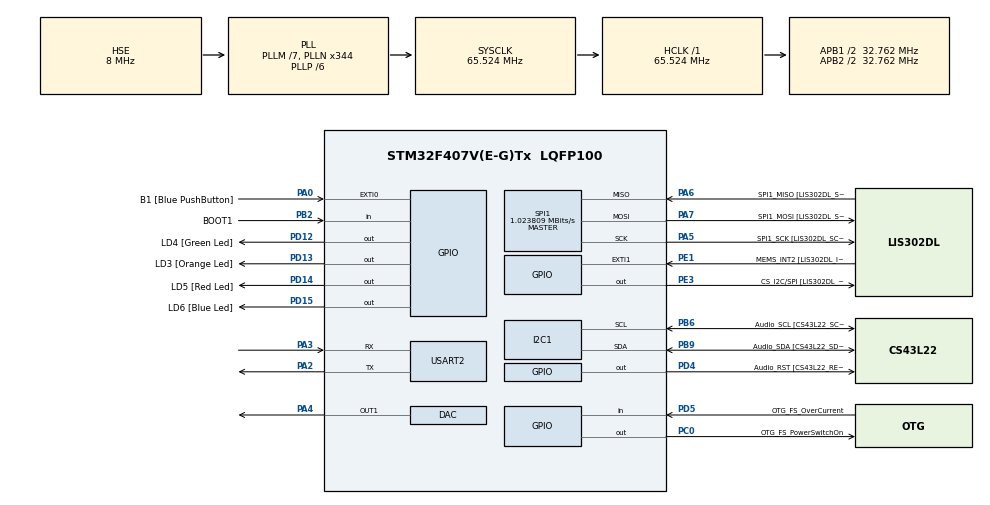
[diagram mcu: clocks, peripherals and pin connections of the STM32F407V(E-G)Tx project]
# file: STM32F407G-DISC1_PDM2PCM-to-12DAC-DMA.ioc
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DAC.DAC_Trigger=DAC_TRIGGER_T2_TRGO
DAC.WaveGeneration=DISABLE
Dma.DAC1.0.Direction=DMA_MEMORY_TO_PERIPH
Dma.DAC1.0.FIFOMode=DMA_FIFOMODE_DISABLE
Dma.DAC1.0.Instance=DMA1_Stream5
Dma.DAC1.0.MemDataAlignment=DMA_MDATAALIGN_HALFWORD
Dma.DAC1.0.MemInc=DMA_MINC_ENABLE
Dma.DAC1.0.Mode=DMA_CIRCULAR
Dma.DAC1.0.PeriphDataAlignment=DMA_PDATAALIGN_HALFWORD
Dma.DAC1.0.PeriphInc=DMA_PINC_DISABLE
Dma.DAC1.0.Priority=DMA_PRIORITY_MEDIUM
Dma.Request0=DAC1
Mcu.Family=STM32F4
Mcu.Name=STM32F407V(E-G)Tx
Mcu.Package=LQFP100
NVIC.DMA1_Stream5_IRQn=true\:0\:0\:false\:false\:true\:false\:true
NVIC.PriorityGroup=NVIC_PRIORITYGROUP_0
PA0-WKUP.GPIO_Label=B1 [Blue PushButton]
PA0-WKUP.GPIO_ModeDefaultEXTI=GPIO_MODE_EVT_RISING
PA0-WKUP.GPIO_PuPd=GPIO_NOPULL
PA0-WKUP.Signal=GPXTI0
PA13.GPIO_Label=SWDIO
PA13.Mode=Trace_Asynchronous_SW
PA13.Signal=SYS_JTMS-SWDIO
PA14.GPIO_Label=SWCLK
PA14.Mode=Trace_Asynchronous_SW
PA14.Signal=SYS_JTCK-SWCLK
PA2.Mode=Asynchronous
PA2.Signal=USART2_TX
PA3.Mode=Asynchronous
PA3.Signal=USART2_RX
PA4.Signal=COMP_DAC1_group
PA5.GPIO_Label=SPI1_SCK [LIS302DL_SCL/SPC]
PA5.GPIO_Mode=GPIO_MODE_AF_PP
PA5.GPIO_PuPd=GPIO_NOPULL
PA5.GPIO_Speed=GPIO_SPEED_FREQ_LOW
PA5.Mode=Full_Duplex_Master
PA5.Signal=SPI1_SCK
PA6.GPIO_Label=SPI1_MISO [LIS302DL_SDO]
PA6.GPIO_Mode=GPIO_MODE_AF_PP
PA6.GPIO_PuPd=GPIO_NOPULL
PA6.GPIO_Speed=GPIO_SPEED_FREQ_LOW
PA6.Mode=Full_Duplex_Master
PA6.Signal=SPI1_MISO
PA7.GPIO_Label=SPI1_MOSI [LIS302DL_SDA/SDI/SDO]
PA7.GPIO_Mode=GPIO_MODE_AF_PP
PA7.GPIO_PuPd=GPIO_NOPULL
PA7.GPIO_Speed=GPIO_SPEED_FREQ_LOW
PA7.Mode=Full_Duplex_Master
PA7.Signal=SPI1_MOSI
PB10.Signal=SPI2_SCK
PB2.GPIO_Label=BOOT1
PB2.GPIO_Mode=GPIO_MODE_INPUT
PB2.GPIO_PuPd=GPIO_NOPULL
PB2.Signal=GPIO_Input
PB3.GPIO_Label=SWO
PB3.Mode=Trace_Asynchronous_SW
PB3.Signal=SYS_JTDO-SWO
PB6.GPIO_Label=Audio_SCL [CS43L22_SCL]
PB6.GPIO_Mode=GPIO_MODE_AF_OD
PB6.GPIO_Pu=GPIO_PULLUP
PB6.GPIO_PuPd=GPIO_NOPULL
PB6.GPIO_Speed=GPIO_SPEED_FREQ_LOW
PB6.Mode=I2C
PB6.Signal=I2C1_SCL
PB9.GPIO_Label=Audio_SDA [CS43L22_SDA]
PB9.GPIO_Mode=GPIO_MODE_AF_OD
PB9.GPIO_Pu=GPIO_PULLUP
PB9.GPIO_PuPd=GPIO_NOPULL
PB9.GPIO_Speed=GPIO_SPEED_FREQ_LOW
PB9.Mode=I2C
PB9.Signal=I2C1_SDA
PC0.GPIO_Label=OTG_FS_PowerSwitchOn
PC0.GPIO_PuPd=GPIO_NOPULL
PC0.GPIO_Speed=GPIO_SPEED_FREQ_LOW
PC0.PinState=GPIO_PIN_SET
PC0.Signal=GPIO_Output
PD12.GPIO_Label=LD4 [Green Led]
PD12.GPIO_PuPd=GPIO_NOPULL
PD12.GPIO_Speed=GPIO_SPEED_FREQ_LOW
PD12.Signal=GPIO_Output
PD13.GPIO_Label=LD3 [Orange Led]
PD13.GPIO_PuPd=GPIO_NOPULL
PD13.GPIO_Speed=GPIO_SPEED_FREQ_LOW
PD13.Signal=GPIO_Output
PD14.GPIO_Label=LD5 [Red Led]
PD14.GPIO_PuPd=GPIO_NOPULL
PD14.GPIO_Speed=GPIO_SPEED_FREQ_LOW
PD14.Signal=GPIO_Output
PD15.GPIO_Label=LD6 [Blue Led]
PD15.GPIO_PuPd=GPIO_NOPULL
PD15.GPIO_Speed=GPIO_SPEED_FREQ_LOW
PD15.Signal=GPIO_Output
PD4.GPIO_Label=Audio_RST [CS43L22_RESET]
PD4.GPIO_PuPd=GPIO_NOPULL
PD4.GPIO_Speed=GPIO_SPEED_FREQ_LOW
PD4.Signal=GPIO_Output
PD5.GPIO_Label=OTG_FS_OverCurrent
PD5.GPIO_Mode=GPIO_MODE_INPUT
PD5.GPIO_PuPd=GPIO_NOPULL
PD5.Signal=GPIO_Input
PDM2PCM.CHANNEL1_bit_order=PDM_FILTER_BIT_ORDER_MSB
PDM2PCM.CHANNEL1_endianness=PDM_FILTER_ENDIANNESS_BE
PDM2PCM.CHANNEL1_in_ptr_channels=1
PDM2PCM.CHANNEL1_out_ptr_channels=1
PDM2PCM.CHANNEL1_output_samples_number=125
PE1.GPIO_Label=MEMS_INT2 [LIS302DL_INT2]
PE1.GPIO_ModeDefaultEXTI=GPIO_MODE_EVT_RISING
PE1.GPIO_PuPd=GPIO_NOPULL
PE1.Signal=GPXTI1
PE3.GPIO_Label=CS_I2C/SPI [LIS302DL_CS_I2C/SPI]
PE3.GPIO_PuPd=GPIO_NOPULL
PE3.GPIO_Speed=GPIO_SPEED_FREQ_LOW
PE3.Signal=GPIO_Output
PH0-OSC_IN.GPIO_Label=PH0-OSC_IN
PH0-OSC_IN.Mode=HSE-External-Oscillator
PH0-OSC_IN.Signal=RCC_OSC_IN
PH1-OSC_OUT.GPIO_Label=PH1-OSC_OUT
PH1-OSC_OUT.Mode=HSE-External-Oscillator
PH1-OSC_OUT.Signal=RCC_OSC_OUT
ProjectManager.HeapSize=0x200
ProjectManager.StackSize=0x400
ProjectManager.TargetToolchain=STM32CubeIDE
RCC.48MHZClocksFreq_Value=56163265.30612246
RCC.AHBFreq_Value=65523809.52380953
RCC.APB1CLKDivider=RCC_HCLK_DIV2
RCC.APB1Freq_Value=32761904.761904765
RCC.APB1TimFreq_Value=65523809.52380953
RCC.APB2CLKDivider=RCC_HCLK_DIV2
RCC.APB2Freq_Value=32761904.761904765
RCC.APB2TimFreq_Value=65523809.52380953
RCC.CortexFreq_Value=65523809.52380953
RCC.HCLKFreq_Value=65523809.52380953
RCC.HSE_VALUE=8000000
RCC.HSI_VALUE=16000000
RCC.LSE_VALUE=32768
RCC.PLLM=7
RCC.PLLN=344
RCC.PLLP=RCC_PLLP_DIV6
RCC.PLLQ=7
RCC.PLLSourceVirtual=RCC_PLLSOURCE_HSE
RCC.SYSCLKFreq_VALUE=65523809.52380953
RCC.SYSCLKSource=RCC_SYSCLKSOURCE_PLLCLK
RCC.VCOOutputFreq_Value=393142857.1428572
SH.COMP_DAC1_group.0=DAC_OUT1,DAC_OUT1
SPI1.BaudRatePrescaler=SPI_BAUDRATEPRESCALER_32
SPI1.BaudRatePrescaler-Full_Duplex_Master=SPI_BAUDRATEPRESCALER_2
SPI1.CalculateBaudRate=1.023809 MBits/s
SPI1.CalculateBaudRate-Full_Duplex_Master=42.0 MBits/s
SPI1.Direction=SPI_DIRECTION_2LINES
SPI1.Mode=SPI_MODE_MASTER
SPI1.Mode-Full_Duplex_Master=SPI_MODE_MASTER
SPI1.VirtualType=VM_MASTER
TIM2.AutoReloadPreload=TIM_AUTORELOAD_PRELOAD_ENABLE
TIM2.ClockDivision=TIM_CLOCKDIVISION_DIV1
TIM2.Period=64-1
TIM2.Prescaler=64-1
TIM2.TIM_MasterOutputTrigger=TIM_TRGO_UPDATE
TIM2.TIM_MasterSlaveMode=TIM_MASTERSLAVEMODE_DISABLE
USART2.VirtualMode=VM_ASYNC
VP_CRC_VS_CRC.Mode=CRC_Activate
VP_PDM2PCM_VS_PDM2PCM.Mode=PDM2PCM_Channel
VP_TIM2_VS_ClockSourceINT.Mode=Internal
board=STM32F407G-DISC1

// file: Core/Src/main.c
/* USER CODE BEGIN Header */
/**
  ******************************************************************************
  * @file           : main.c
  * @brief          : Main program body
  ******************************************************************************
  * @attention
  *
  * <h2><center>&copy; Copyright (c) 2021 STMicroelectronics.
  * All rights reserved.</center></h2>
  *
  * This software component is licensed by ST under Ultimate Liberty license
  * SLA0044, the "License"; You may not use this file except in compliance with
  * the License. You may obtain a copy of the License at:
  *                             www.st.com/SLA0044
  *
  ******************************************************************************
  */
/* USER CODE END Header */
#include "main.h"
#include "pdm2pcm.h"

/* USER CODE BEGIN Includes */

#include <stdio.h>
#include "pdm_tones.h"
#include "waveforms.h"

/* USER CODE END Includes */

CRC_HandleTypeDef hcrc;

DAC_HandleTypeDef hdac;
DMA_HandleTypeDef hdma_dac1;

I2C_HandleTypeDef hi2c1;

SPI_HandleTypeDef hspi1;

TIM_HandleTypeDef htim2;

UART_HandleTypeDef huart2;

/* USER CODE BEGIN PV */

int16_t PCM_outBuffer[500];

/* USER CODE END PV */

void SystemClock_Config(void);
static void MX_GPIO_Init(void);
static void MX_I2C1_Init(void);
static void MX_SPI1_Init(void);
static void MX_USART2_UART_Init(void);
static void MX_CRC_Init(void);
static void MX_TIM2_Init(void);
static void MX_DMA_Init(void);
static void MX_DAC_Init(void);
/* USER CODE BEGIN PFP */

#define PUTCHAR_PROTOTYPE int __io_putchar(int ch)

/* USER CODE END PFP */

int main(void)
{

  /* MCU Configuration--------------------------------------------------------*/

  /* Reset of all peripherals, Initializes the Flash interface and the Systick. */
  HAL_Init();

  /* Configure the system clock */
  SystemClock_Config();

  /* Initialize all configured peripherals */
  MX_GPIO_Init();
  MX_I2C1_Init();
  MX_SPI1_Init();
  MX_USART2_UART_Init();
  MX_CRC_Init();
  MX_PDM2PCM_Init();
  MX_TIM2_Init();
  MX_DMA_Init();
  MX_DAC_Init();
  /* USER CODE BEGIN 2 */

//	printf("tone500Hz_pdmdata\n");
//	for (uint16_t Index = 0; Index < sizeof(tone500Hz_pdmdata); Index++)
//	{
//	  printf("%d %d\n",Index, tone500Hz_pdmdata[Index]);
//	}

	// first bit to MSB - 8bit tone "AA"
	for(uint16_t i = 0; i < sizeof(tone500HzA4_pdmdata) * 4; i++)
	{
		pdmBuffer8_8000bits_1000bytes_1[i >> 3] = 0x55;
//		printf("i = %d,  i >>3 = %d, i mod sizeof(tone500HzA4_pdmdata) = %d \n",i, i >>3, i % sizeof(tone500HzA4_pdmdata));
	}

	// first bit to MSB - 8bit tone500Hz_pdmdata
	for(uint16_t i = 0; i < sizeof(tone500Hz_pdmdata) * 4; i++)
	{
		pdmBuffer8_8000bits_1000bytes_2[i >> 3] = (pdmBuffer8_8000bits_1000bytes_2[i >> 3] << 1) + tone500Hz_pdmdata[i % sizeof(tone500Hz_pdmdata)];
//		printf("i = %d,  i >>3 = %d, i mod sizeof(tone500Hz_pdmdata) = %d \n",i, i >>3, i % sizeof(tone500Hz_pdmdata));
	}

	// first bit to MSB - 8bit tone500HzA4_pdmdata
	for(uint16_t i = 0; i < sizeof(tone500HzA4_pdmdata) * 4; i++)
	{
		pdmBuffer8_8000bits_1000bytes_3[i >> 3] = (pdmBuffer8_8000bits_1000bytes_3[i >> 3] << 1) + tone500HzA4_pdmdata[i % sizeof(tone500HzA4_pdmdata)];
//		printf("i = %d,  i >>3 = %d, i mod sizeof(tone500HzA4_pdmdata) = %d \n",i, i >>3, i % sizeof(tone500HzA4_pdmdata));
	}

//	printf("pdmBuffer8_8000bits_1000bytes_2 first bit to MSB\n");
//	for (uint16_t Index = 0; Index < sizeof(pdmBuffer8_8000bits_1000bytes_2); Index++)
//	{
//		printf("%d %d\n",Index, pdmBuffer8_8000bits_1000bytes_2[Index]);
//	}

	GPIOD->BSRR = (1<<13); // pin13 set
	PDM_Filter(&pdmBuffer8_8000bits_1000bytes_1[0],&PCM_outBuffer[0], &PDM1_filter_handler); // 447uS @ 65.5Mhz
	GPIOD->BSRR = (1<<(13+16)); // pin13 + 16, reset
	PDM_Filter(&pdmBuffer8_8000bits_1000bytes_2[0],&PCM_outBuffer[125], &PDM1_filter_handler); // 447uS @ 65.5Mhz
	GPIOD->BSRR = (1<<13); // pin13 set
	PDM_Filter(&pdmBuffer8_8000bits_1000bytes_1[0],&PCM_outBuffer[250], &PDM1_filter_handler); // 447uS @ 65.5Mhz
	GPIOD->BSRR = (1<<(13+16)); // pin13 + 16, reset
	PDM_Filter(&pdmBuffer8_8000bits_1000bytes_3[0],&PCM_outBuffer[375], &PDM1_filter_handler); // 447uS @ 65.5Mhz
	GPIOD->BSRR = (1<<13); // pin13 set

	for(int cntr = 0; cntr < 500; cntr++)
	{
		PCM_outBuffer[cntr] = (PCM_outBuffer[cntr] >> 4) + 2048;
	}

//	printf("PCM_outBuffer \n");
//	for (uint16_t Index = 0; Index < 500; Index++)
//	{
//		printf("%d %d\n",Index, PCM_outBuffer[Index]);
//	}

//	printf("PCM_outBuffer \n");
//	for (uint16_t Index = 0; Index < 500; Index++)
//	{
//		printf("%d %d\n",Index, PCM_outBuffer[Index]);
//	}

//	for (uint16_t cntr = 0; cntr < MySine2000_SIZE; cntr++)
//	{
//		MySine2000[cntr] += 682;
//		MySine2000[cntr] += MySine200[cntr % MySine200_SIZE];
//	}

//	/*##- Enable DAC Channel and associated DMA ##############################*/
//	if(HAL_OK != HAL_DAC_Start_DMA(&hdac, DAC_CHANNEL_1,
//			(uint32_t*)MySine2000, MySine2000_SIZE, DAC_ALIGN_12B_R))
//	{
//		/* Start DMA Error */
//		Error_Handler();
//	}

	/*##- Enable DAC Channel and associated DMA ##############################*/
	if(HAL_OK != HAL_DAC_Start_DMA(&hdac, DAC_CHANNEL_1,
			(uint32_t*)PCM_outBuffer, 250, DAC_ALIGN_12B_R))
	{
		/* Start DMA Error */
		Error_Handler();
	}

	HAL_TIM_Base_Start(&htim2);

  /* USER CODE END 2 */

  /* Infinite loop */
  /* USER CODE BEGIN WHILE */
  while (1)
  {
	  HAL_GPIO_TogglePin(GPIOD, GPIO_PIN_12);
//	  HAL_GPIO_TogglePin(GPIOA, GPIO_PIN_4);
//	  HAL_GPIO_TogglePin(GPIOD, GPIO_PIN_13);
//	  HAL_GPIO_TogglePin(GPIOD, GPIO_PIN_14);
//	  HAL_GPIO_TogglePin(GPIOD, GPIO_PIN_15);
	  HAL_Delay(100);
    /* USER CODE END WHILE */

  }
}

void SystemClock_Config(void)
{
  RCC_OscInitTypeDef RCC_OscInitStruct = {0};
  RCC_ClkInitTypeDef RCC_ClkInitStruct = {0};

  /** Configure the main internal regulator output voltage
  */
  __HAL_RCC_PWR_CLK_ENABLE();
  __HAL_PWR_VOLTAGESCALING_CONFIG(PWR_REGULATOR_VOLTAGE_SCALE1);
  /** Initializes the RCC Oscillators according to the specified parameters
  * in the RCC_OscInitTypeDef structure.
  */
  RCC_OscInitStruct.OscillatorType = RCC_OSCILLATORTYPE_HSE;
  RCC_OscInitStruct.HSEState = RCC_HSE_ON;
  RCC_OscInitStruct.PLL.PLLState = RCC_PLL_ON;
  RCC_OscInitStruct.PLL.PLLSource = RCC_PLLSOURCE_HSE;
  RCC_OscInitStruct.PLL.PLLM = 7;
  RCC_OscInitStruct.PLL.PLLN = 344;
  RCC_OscInitStruct.PLL.PLLP = RCC_PLLP_DIV6;
  RCC_OscInitStruct.PLL.PLLQ = 7;
  if (HAL_RCC_OscConfig(&RCC_OscInitStruct) != HAL_OK)
  {
    Error_Handler();
  }
  /** Initializes the CPU, AHB and APB buses clocks
  */
  RCC_ClkInitStruct.ClockType = RCC_CLOCKTYPE_HCLK|RCC_CLOCKTYPE_SYSCLK
                              |RCC_CLOCKTYPE_PCLK1|RCC_CLOCKTYPE_PCLK2;
  RCC_ClkInitStruct.SYSCLKSource = RCC_SYSCLKSOURCE_PLLCLK;
  RCC_ClkInitStruct.AHBCLKDivider = RCC_SYSCLK_DIV1;
  RCC_ClkInitStruct.APB1CLKDivider = RCC_HCLK_DIV2;
  RCC_ClkInitStruct.APB2CLKDivider = RCC_HCLK_DIV2;

  if (HAL_RCC_ClockConfig(&RCC_ClkInitStruct, FLASH_LATENCY_2) != HAL_OK)
  {
    Error_Handler();
  }
}

static void MX_CRC_Init(void)
{

  hcrc.Instance = CRC;
  if (HAL_CRC_Init(&hcrc) != HAL_OK)
  {
    Error_Handler();
  }
  __HAL_CRC_DR_RESET(&hcrc);

}

static void MX_DAC_Init(void)
{

  DAC_ChannelConfTypeDef sConfig = {0};

  /** DAC Initialization
  */
  hdac.Instance = DAC;
  if (HAL_DAC_Init(&hdac) != HAL_OK)
  {
    Error_Handler();
  }
  /** DAC channel OUT1 config
  */
  sConfig.DAC_Trigger = DAC_TRIGGER_T2_TRGO;
  sConfig.DAC_OutputBuffer = DAC_OUTPUTBUFFER_ENABLE;
  if (HAL_DAC_ConfigChannel(&hdac, &sConfig, DAC_CHANNEL_1) != HAL_OK)
  {
    Error_Handler();
  }

}

static void MX_I2C1_Init(void)
{

  hi2c1.Instance = I2C1;
  hi2c1.Init.ClockSpeed = 100000;
  hi2c1.Init.DutyCycle = I2C_DUTYCYCLE_2;
  hi2c1.Init.OwnAddress1 = 0;
  hi2c1.Init.AddressingMode = I2C_ADDRESSINGMODE_7BIT;
  hi2c1.Init.DualAddressMode = I2C_DUALADDRESS_DISABLE;
  hi2c1.Init.OwnAddress2 = 0;
  hi2c1.Init.GeneralCallMode = I2C_GENERALCALL_DISABLE;
  hi2c1.Init.NoStretchMode = I2C_NOSTRETCH_DISABLE;
  if (HAL_I2C_Init(&hi2c1) != HAL_OK)
  {
    Error_Handler();
  }

}

static void MX_SPI1_Init(void)
{

  /* SPI1 parameter configuration*/
  hspi1.Instance = SPI1;
  hspi1.Init.Mode = SPI_MODE_MASTER;
  hspi1.Init.Direction = SPI_DIRECTION_2LINES;
  hspi1.Init.DataSize = SPI_DATASIZE_8BIT;
  hspi1.Init.CLKPolarity = SPI_POLARITY_LOW;
  hspi1.Init.CLKPhase = SPI_PHASE_1EDGE;
  hspi1.Init.NSS = SPI_NSS_SOFT;
  hspi1.Init.BaudRatePrescaler = SPI_BAUDRATEPRESCALER_32;
  hspi1.Init.FirstBit = SPI_FIRSTBIT_MSB;
  hspi1.Init.TIMode = SPI_TIMODE_DISABLE;
  hspi1.Init.CRCCalculation = SPI_CRCCALCULATION_DISABLE;
  hspi1.Init.CRCPolynomial = 10;
  if (HAL_SPI_Init(&hspi1) != HAL_OK)
  {
    Error_Handler();
  }

}

static void MX_TIM2_Init(void)
{

  TIM_ClockConfigTypeDef sClockSourceConfig = {0};
  TIM_MasterConfigTypeDef sMasterConfig = {0};

  htim2.Instance = TIM2;
  htim2.Init.Prescaler = 64-1;
  htim2.Init.CounterMode = TIM_COUNTERMODE_UP;
  htim2.Init.Period = 64-1;
  htim2.Init.ClockDivision = TIM_CLOCKDIVISION_DIV1;
  htim2.Init.AutoReloadPreload = TIM_AUTORELOAD_PRELOAD_ENABLE;
  if (HAL_TIM_Base_Init(&htim2) != HAL_OK)
  {
    Error_Handler();
  }
  sClockSourceConfig.ClockSource = TIM_CLOCKSOURCE_INTERNAL;
  if (HAL_TIM_ConfigClockSource(&htim2, &sClockSourceConfig) != HAL_OK)
  {
    Error_Handler();
  }
  sMasterConfig.MasterOutputTrigger = TIM_TRGO_UPDATE;
  sMasterConfig.MasterSlaveMode = TIM_MASTERSLAVEMODE_DISABLE;
  if (HAL_TIMEx_MasterConfigSynchronization(&htim2, &sMasterConfig) != HAL_OK)
  {
    Error_Handler();
  }

}

static void MX_USART2_UART_Init(void)
{

  huart2.Instance = USART2;
  huart2.Init.BaudRate = 115200;
  huart2.Init.WordLength = UART_WORDLENGTH_8B;
  huart2.Init.StopBits = UART_STOPBITS_1;
  huart2.Init.Parity = UART_PARITY_NONE;
  huart2.Init.Mode = UART_MODE_TX_RX;
  huart2.Init.HwFlowCtl = UART_HWCONTROL_NONE;
  huart2.Init.OverSampling = UART_OVERSAMPLING_16;
  if (HAL_UART_Init(&huart2) != HAL_OK)
  {
    Error_Handler();
  }

}

static void MX_DMA_Init(void)
{

  /* DMA controller clock enable */
  __HAL_RCC_DMA1_CLK_ENABLE();

  /* DMA interrupt init */
  /* DMA1_Stream5_IRQn interrupt configuration */
  HAL_NVIC_SetPriority(DMA1_Stream5_IRQn, 0, 0);
  HAL_NVIC_EnableIRQ(DMA1_Stream5_IRQn);

}

static void MX_GPIO_Init(void)
{
  GPIO_InitTypeDef GPIO_InitStruct = {0};

  /* GPIO Ports Clock Enable */
  __HAL_RCC_GPIOE_CLK_ENABLE();
  __HAL_RCC_GPIOH_CLK_ENABLE();
  __HAL_RCC_GPIOC_CLK_ENABLE();
  __HAL_RCC_GPIOA_CLK_ENABLE();
  __HAL_RCC_GPIOB_CLK_ENABLE();
  __HAL_RCC_GPIOD_CLK_ENABLE();

  /*Configure GPIO pin Output Level */
  HAL_GPIO_WritePin(CS_I2C_SPI_GPIO_Port, CS_I2C_SPI_Pin, GPIO_PIN_RESET);

  /*Configure GPIO pin Output Level */
  HAL_GPIO_WritePin(OTG_FS_PowerSwitchOn_GPIO_Port, OTG_FS_PowerSwitchOn_Pin, GPIO_PIN_SET);

  /*Configure GPIO pin Output Level */
  HAL_GPIO_WritePin(GPIOD, LD4_Pin|LD3_Pin|LD5_Pin|LD6_Pin
                          |Audio_RST_Pin, GPIO_PIN_RESET);

  /*Configure GPIO pin : CS_I2C_SPI_Pin */
  GPIO_InitStruct.Pin = CS_I2C_SPI_Pin;
  GPIO_InitStruct.Mode = GPIO_MODE_OUTPUT_PP;
  GPIO_InitStruct.Pull = GPIO_NOPULL;
  GPIO_InitStruct.Speed = GPIO_SPEED_FREQ_LOW;
  HAL_GPIO_Init(CS_I2C_SPI_GPIO_Port, &GPIO_InitStruct);

  /*Configure GPIO pin : OTG_FS_PowerSwitchOn_Pin */
  GPIO_InitStruct.Pin = OTG_FS_PowerSwitchOn_Pin;
  GPIO_InitStruct.Mode = GPIO_MODE_OUTPUT_PP;
  GPIO_InitStruct.Pull = GPIO_NOPULL;
  GPIO_InitStruct.Speed = GPIO_SPEED_FREQ_LOW;
  HAL_GPIO_Init(OTG_FS_PowerSwitchOn_GPIO_Port, &GPIO_InitStruct);

  /*Configure GPIO pin : B1_Pin */
  GPIO_InitStruct.Pin = B1_Pin;
  GPIO_InitStruct.Mode = GPIO_MODE_EVT_RISING;
  GPIO_InitStruct.Pull = GPIO_NOPULL;
  HAL_GPIO_Init(B1_GPIO_Port, &GPIO_InitStruct);

  /*Configure GPIO pin : BOOT1_Pin */
  GPIO_InitStruct.Pin = BOOT1_Pin;
  GPIO_InitStruct.Mode = GPIO_MODE_INPUT;
  GPIO_InitStruct.Pull = GPIO_NOPULL;
  HAL_GPIO_Init(BOOT1_GPIO_Port, &GPIO_InitStruct);

  /*Configure GPIO pin : PB10 */
  GPIO_InitStruct.Pin = GPIO_PIN_10;
  GPIO_InitStruct.Mode = GPIO_MODE_AF_PP;
  GPIO_InitStruct.Pull = GPIO_NOPULL;
  GPIO_InitStruct.Speed = GPIO_SPEED_FREQ_VERY_HIGH;
  GPIO_InitStruct.Alternate = GPIO_AF5_SPI2;
  HAL_GPIO_Init(GPIOB, &GPIO_InitStruct);

  /*Configure GPIO pins : LD4_Pin LD3_Pin LD5_Pin LD6_Pin
                           Audio_RST_Pin */
  GPIO_InitStruct.Pin = LD4_Pin|LD3_Pin|LD5_Pin|LD6_Pin
                          |Audio_RST_Pin;
  GPIO_InitStruct.Mode = GPIO_MODE_OUTPUT_PP;
  GPIO_InitStruct.Pull = GPIO_NOPULL;
  GPIO_InitStruct.Speed = GPIO_SPEED_FREQ_LOW;
  HAL_GPIO_Init(GPIOD, &GPIO_InitStruct);

  /*Configure GPIO pin : OTG_FS_OverCurrent_Pin */
  GPIO_InitStruct.Pin = OTG_FS_OverCurrent_Pin;
  GPIO_InitStruct.Mode = GPIO_MODE_INPUT;
  GPIO_InitStruct.Pull = GPIO_NOPULL;
  HAL_GPIO_Init(OTG_FS_OverCurrent_GPIO_Port, &GPIO_InitStruct);

  /*Configure GPIO pin : MEMS_INT2_Pin */
  GPIO_InitStruct.Pin = MEMS_INT2_Pin;
  GPIO_InitStruct.Mode = GPIO_MODE_EVT_RISING;
  GPIO_InitStruct.Pull = GPIO_NOPULL;
  HAL_GPIO_Init(MEMS_INT2_GPIO_Port, &GPIO_InitStruct);

}

/* USER CODE BEGIN 4 */

PUTCHAR_PROTOTYPE
{
  /* Place your implementation of fputc here */
  /* e.g. write a character to the LPUART1 and Loop until the end of transmission */
  HAL_UART_Transmit(&huart2, (uint8_t *)&ch, 1, 0xFFFF);

  return ch;
}

/* USER CODE END 4 */

void Error_Handler(void)
{
  __disable_irq();
  while (1)
  {
  }
}

/************************ (C) COPYRIGHT STMicroelectronics *****END OF FILE****/
